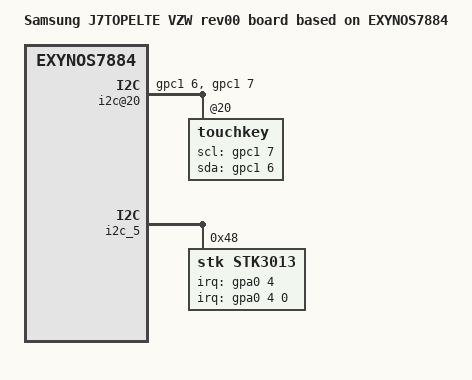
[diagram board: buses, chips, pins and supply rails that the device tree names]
/*
 * SAMSUNG UNIVERSAL7885 board device tree source
 *
 * Copyright (c) 2013 Samsung Electronics Co., Ltd.
 *		http://www.samsung.com
 *
 * This program is free software; you can redistribute it and/or modify
 * it under the terms of the GNU General Public License version 2 as
 * published by the Free Software Foundation.
*/

/dts-v1/;
#include "exynos7884-j7topelte_common.dtsi"
#include "exynos7884-j7topelte_usa_gpio_00.dtsi"

/ {
	model = "Samsung J7TOPELTE VZW rev00 board based on EXYNOS7884";
	model_info-chip = <7885>;
	model_info-platform = "android";
	model_info-subtype = "samsung";
	model_info-hw_rev = <0>;
	model_info-hw_rev_end = <0>;
	compatible = "samsung, J7TOPELTE VZW rev00", "samsung,Universal7884";

	pinctrl@139B0000 {
		cfg_i2c: cfg-i2c {
			samsung,pins = "gpc1-7", "gpc1-6";
			samsung,pin-function = <2>;
			samsung,pin-pud = <0>;
			samsung,pin-drv = <0>;
		};
		cfg_gpio: cfg-gpio {
			samsung,pins = "gpc1-7", "gpc1-6";
			samsung,pin-function = <0>;
			samsung,pin-pud = <0>;
			samsung,pin-drv = <0>;
		};
	};

	i2c_4:i2c@13870000 {
		touchscreen@48 {
			status = "disabled";
		};
	};

	i2c@20 {
		gpios = <&gpc1 6 0 &gpc1 7 0>;
		touchkey@20 {
			coreriver,scl-gpio = <&gpc1 7 0>;
			coreriver,sda-gpio = <&gpc1 6 0>;
		};
	};

	i2c_5: i2c@13880000 {
		status = "okay";
		#address-cells = <1>;
		#size-cells = <0>;
		pinctrl-names = "default";
		pinctrl-0 = <&i2c5_bus>;

		stk3013@48 {
			compatible = "stk,stk3013";
			reg = <0x48>;
			interrupt-parent = <&gpa0>;
			interrupts = <4 0 0>;
			pinctrl-names = "default";
			pinctrl-0 = <&prox_int>;
			stk,irq-gpio = <&gpa0 4 0x00>;
			stk,state-reg = <0x2c>;
			stk,psctrl-reg = <0x70>;
			stk,alsctrl-reg = <0x2A>;
			stk,ledctrl-reg = <0xFF>;
			stk,wait-reg = <0x03>;
			stk,ps-thd-h = <18>;
			stk,ps-thd-l = <12>;
			stk,ps-cancel-thd-h = <9>;
			stk,ps-cancel-thd-l = <6>;
			stk,ps-cal-skip-adc = <10>;
			stk,ps-cal-fail-adc = <20>;
			stk,ps-default-offset = <0>;
			stk,transmittance = <500>;
		};
	};

	sound {
		mixer-paths = "mixer_paths_r06.xml";
	};	
};

